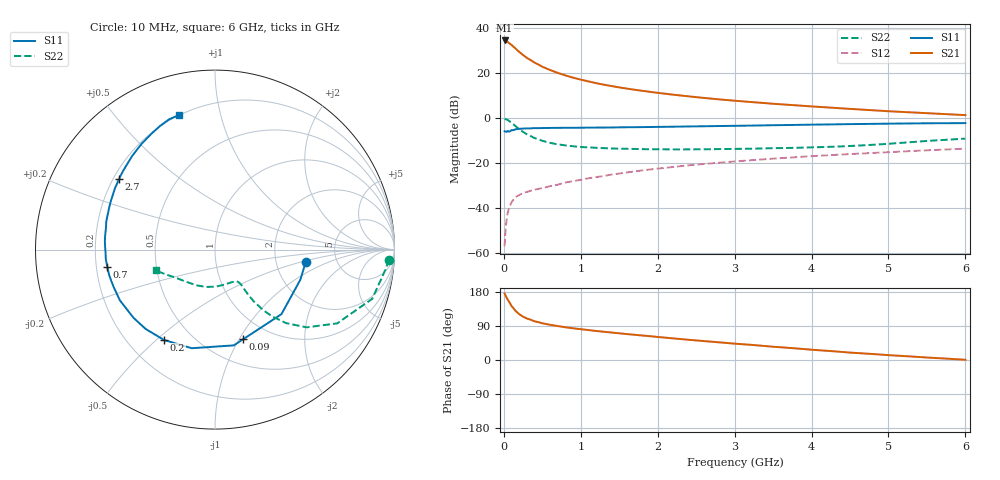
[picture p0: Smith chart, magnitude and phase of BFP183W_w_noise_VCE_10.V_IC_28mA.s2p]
! Infineon Technologies  Discrete & RF Semiconductors
! BFP183W
! VCE =  10. V,  IC =  28 mA
! Common Emitter S-Parameters:  Jan 2017
# GHz  S  MA  R  50
!  f  S11  S21  S12  S22
! GHz  MAG  ANG  MAG  ANG  MAG  ANG  MAG  ANG
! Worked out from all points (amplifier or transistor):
!   77 points, 10 MHz to 6 GHz, reference 50 ohm
!   highest |S21| = 34.7 dB at 10 MHz (marker M1)
!   |S21| within 3 dB of that: start of sweep to 132.4 MHz
!   unconditionally stable (mu >= 1): 1.104 GHz to 3.471 GHz
!   at 130 MHz: K = 0.27, MSG = 33.9 dB, |S12| = -36.1 dB
!   at 2.2 GHz: K = 1.06, MAG = 14.7 dB, |S12| = -21.8 dB
!   at 6 GHz: K = 0.86, MSG = 7.5 dB, |S12| = -13.6 dB
!   lowest NFmin = 1.35 dB at 450 MHz
!   S11 on the Smith chart (normalised r, x): 10 MHz: 2.97, -0.56; 90 MHz: 0.76, -1.04; 200 MHz: 0.35, -0.53; 700 MHz: 0.25, -0.08; 2.7 GHz: 0.22, +0.31; 6 GHz: 0.20, +0.75
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0.01  0.5101 -7.8  54.05 175.5  0.0014 83.9  0.9715 -3.3
0.02  0.5043 -19.4  53.13 170.8  0.0028 87.3  0.9547 -7.0
0.05  0.5162 -44.2  50.05 159.2  0.0078 75.4  0.9178 -17.4
0.09  0.5232 -72.5  44.14 146.1  0.0122 65.0  0.8161 -28.0
0.1  0.5438 -78.9  43.08 142.3  0.0133 63.5  0.7957 -31.1
0.15  0.5645 -103.3  35.96 130.1  0.0174 55.4  0.6697 -40.3
0.2  0.578 -119.4  30.08 121.0  0.0193 50.3  0.5706 -45.9
0.25  0.5872 -131.1  25.6 114.3  0.0215 46.9  0.495 -49.2
0.3  0.5921 -140.0  22.08 109.4  0.0227 48.3  0.4369 -51.3
0.4  0.6007 -151.9  17.29 102.1  0.0255 48.2  0.3598 -53.2
0.5  0.6022 -160.1  14.06 97.0  0.0276 49.0  0.3136 -53.6
0.6  0.6062 -166.1  11.87 92.9  0.0305 50.9  0.2819 -53.6
0.7  0.6082 -170.8  10.22 89.6  0.0328 53.7  0.2609 -53.3
0.9  0.6098 -178.5  8 83.7  0.0393 56.1  0.2362 -53.6
1.1  0.6154 175.6  6.593 79.0  0.0457 58.9  0.223 -54.3
1.5  0.6248 166.0  4.855 70.5  0.0582 60.2  0.2089 -58.1
2.1  0.642 153.8  3.505 59.0  0.0783 60.2  0.2019 -69.0
2.7  0.6638 143.6  2.725 48.3  0.0984 58.4  0.2035 -83.8
3.1  0.6789 137.3  2.375 41.7  0.1117 56.6  0.2075 -94.1
4.1  0.7208 123.5  1.784 25.7  0.1452 51.2  0.2258 -120.1
5.1  0.7574 112.8  1.4 11.6  0.1779 45.2  0.2761 -146.3
6  0.7762 104.9  1.17 0.6  0.2093 39.4  0.3498 -160.6
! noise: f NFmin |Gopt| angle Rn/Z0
0.45  1.35  0.26  179  0.09
0.9  1.38  0.29  -179  0.1
1.9  1.87  0.44  -157  0.1
2.4  2.12  0.49  -152  0.14
